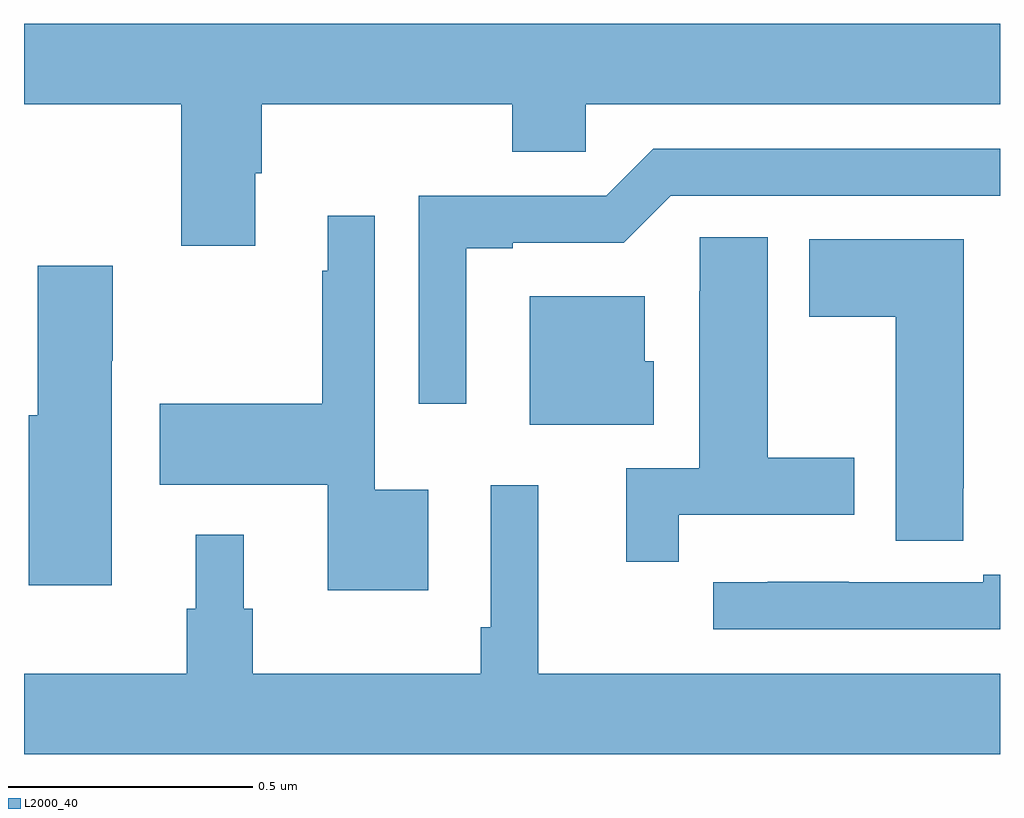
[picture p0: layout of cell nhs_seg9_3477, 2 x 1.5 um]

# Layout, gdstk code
import gdstk
lib = gdstk.Library(unit=1e-6, precision=1e-09)
def P(c, l, *ps):  # polygons
    for p in ps: c.add(gdstk.Polygon(p, *l))
L2000_40 = (2000, 40)

nhs_seg9_3477 = lib.new_cell('nhs_seg9_3477')
P(nhs_seg9_3477, L2000_40, [(154.474,1182.958),(154.487,1182.958),(154.487,1183.1),(155,1183.1),(155,1183.002),(155.151,1183.002),(155.151,1183.1),(156,1183.1),(156,1183.264),(154,1183.264),(154,1183.1),(154.322,1183.1),(154.322,1182.81),(154.474,1182.81)],
  [(154.906,1182.804),(155.002,1182.804),(155.002,1182.816),(155.229,1182.816),(155.325,1182.912),(156,1182.912),(156,1183.008),(155.289,1183.008),(155.193,1182.912),(154.809,1182.912),(154.809,1182.486),(154.906,1182.486)],
  [(154.828,1182.31),(154.719,1182.31),(154.719,1182.871),(154.622,1182.871),(154.622,1182.758),(154.611,1182.758),(154.611,1182.486),(154.278,1182.486),(154.278,1182.32),(154.622,1182.32),(154.622,1182.104),(154.828,1182.104)],
  [(155.342,1182.258),(155.701,1182.258),(155.701,1182.375),(155.524,1182.375),(155.524,1182.827),(155.385,1182.827),(155.385,1182.716),(155.384,1182.716),(155.384,1182.354),(155.234,1182.354),(155.234,1182.162),(155.342,1182.162)],
  [(155.925,1182.313),(155.926,1182.313),(155.926,1182.823),(155.609,1182.823),(155.609,1182.664),(155.786,1182.664),(155.786,1182.205),(155.925,1182.205)],
  [(154.18,1182.574),(154.182,1182.574),(154.182,1182.769),(154.028,1182.769),(154.028,1182.462),(154.01,1182.462),(154.01,1182.114),(154.18,1182.114)],
  [(155.29,1182.573),(155.272,1182.573),(155.272,1182.706),(155.036,1182.706),(155.036,1182.443),(155.29,1182.443)],
  [(156,1181.932),(155.054,1181.932),(155.054,1182.319),(154.956,1182.319),(154.956,1182.028),(154.936,1182.028),(154.936,1181.932),(154.469,1181.932),(154.469,1182.066),(154.45,1182.066),(154.45,1182.217),(154.352,1182.217),(154.352,1182.066),(154.333,1182.066),(154.333,1181.932),(154,1181.932),(154,1181.768),(156,1181.768)],
  [(156,1182.135),(155.966,1182.135),(155.966,1182.12),(155.69,1182.12),(155.69,1182.121),(155.524,1182.121),(155.524,1182.12),(155.412,1182.12),(155.412,1182.024),(156,1182.024)])

lib.write_gds('nhs_seg9_3477.gds')
